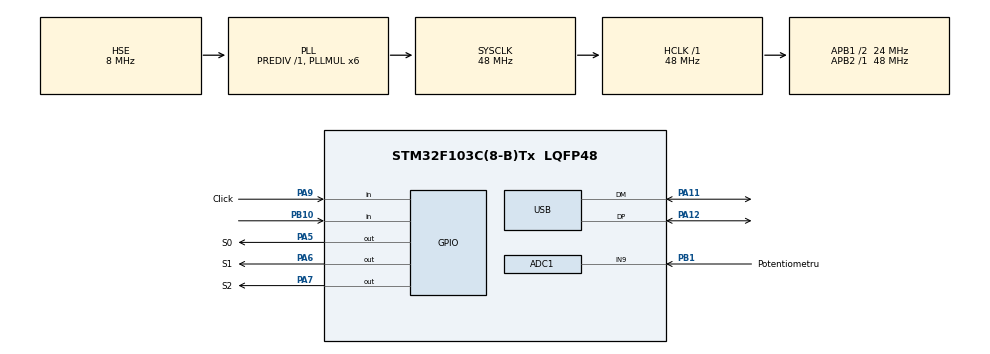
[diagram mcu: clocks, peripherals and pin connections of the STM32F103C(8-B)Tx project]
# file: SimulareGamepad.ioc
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ADC1.Channel-0\#ChannelRegularConversion=ADC_CHANNEL_9
ADC1.ContinuousConvMode=ENABLE
ADC1.NbrOfConversionFlag=1
ADC1.Rank-0\#ChannelRegularConversion=1
ADC1.SamplingTime-0\#ChannelRegularConversion=ADC_SAMPLETIME_1CYCLE_5
ADC1.master=1
Mcu.Family=STM32F1
Mcu.Name=STM32F103C(8-B)Tx
Mcu.Package=LQFP48
NVIC.PriorityGroup=NVIC_PRIORITYGROUP_4
NVIC.USB_LP_CAN1_RX0_IRQn=true\:0\:0\:false\:false\:true\:false\:true\:true
PA11.Mode=Device
PA11.Signal=USB_DM
PA12.Mode=Device
PA12.Signal=USB_DP
PA13.Mode=Serial_Wire
PA13.Signal=SYS_JTMS-SWDIO
PA14.Mode=Serial_Wire
PA14.Signal=SYS_JTCK-SWCLK
PA5.GPIO_Label=S0
PA5.Signal=GPIO_Output
PA6.GPIO_Label=S1
PA6.Signal=GPIO_Output
PA7.GPIO_Label=S2
PA7.Signal=GPIO_Output
PA9.GPIO_Label=Click
PA9.Signal=GPIO_Input
PB1.GPIO_Label=Potentiometru
PB1.Signal=ADCx_IN9
PB10.Signal=GPIO_Input
PD0-OSC_IN.Mode=HSE-External-Oscillator
PD0-OSC_IN.Signal=RCC_OSC_IN
PD1-OSC_OUT.Mode=HSE-External-Oscillator
PD1-OSC_OUT.Signal=RCC_OSC_OUT
ProjectManager.HeapSize=0x200
ProjectManager.StackSize=0x400
ProjectManager.TargetToolchain=STM32CubeIDE
RCC.ADCPresc=RCC_ADCPCLK2_DIV4
RCC.AHBFreq_Value=48000000
RCC.APB1CLKDivider=RCC_HCLK_DIV2
RCC.APB1Freq_Value=24000000
RCC.APB1TimFreq_Value=48000000
RCC.APB2Freq_Value=48000000
RCC.APB2TimFreq_Value=48000000
RCC.HCLKFreq_Value=48000000
RCC.PLLMUL=RCC_PLL_MUL6
RCC.SYSCLKFreq_VALUE=48000000
RCC.SYSCLKSource=RCC_SYSCLKSOURCE_PLLCLK
RCC.USBFreq_Value=48000000
SH.ADCx_IN9.0=ADC1_IN9,IN9
USB_DEVICE.CLASS_NAME_FS=HID
USB_DEVICE.VirtualMode=Hid
USB_DEVICE.VirtualModeFS=Hid_FS
VP_USB_DEVICE_VS_USB_DEVICE_HID_FS.Mode=HID_FS
board=custom

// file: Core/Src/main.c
/* USER CODE BEGIN Header */
/**
  ******************************************************************************
  * @file           : main.c
  * @brief          : Main program body
  ******************************************************************************
  * @attention
  *
  * Copyright (c) 2025 STMicroelectronics.
  * All rights reserved.
  *
  * This software is licensed under terms that can be found in the LICENSE file
  * in the root directory of this software component.
  * If no LICENSE file comes with this software, it is provided AS-IS.
  *
  ******************************************************************************
  */
/* USER CODE END Header */
#include "main.h"
#include "usb_device.h"

/* USER CODE BEGIN PTD */
typedef struct{
	uint8_t buton;
	int8_t x;
}gamepadReport;
/* USER CODE END PTD */

/* USER CODE BEGIN PD */
#define ALPHA 0.1f
/* USER CODE END PD */

ADC_HandleTypeDef hadc1;

/* USER CODE BEGIN PV */
uint16_t readValue;
uint8_t click;

uint32_t adcMin = 4095;  // Assuming 12-bit ADC
uint32_t adcMax = 0;

gamepadReport reportContainer;

extern USBD_HandleTypeDef hUsbDeviceFS;
/* USER CODE END PV */

void SystemClock_Config(void);
static void MX_GPIO_Init(void);
static void MX_ADC1_Init(void);

int main(void)
{

  /* MCU Configuration--------------------------------------------------------*/

  /* Reset of all peripherals, Initializes the Flash interface and the Systick. */
  HAL_Init();

  /* Configure the system clock */
  SystemClock_Config();

  /* Initialize all configured peripherals */
  MX_GPIO_Init();
  MX_ADC1_Init();
  MX_USB_DEVICE_Init();
  /* USER CODE BEGIN 2 */
  HAL_ADC_Start(&hadc1);
  /* USER CODE END 2 */

  /* Infinite loop */
  /* USER CODE BEGIN WHILE */
  while (1)
  {
	  HAL_ADC_PollForConversion(&hadc1,1000);
	  readValue = HAL_ADC_GetValue(&hadc1) ;
	  click = HAL_GPIO_ReadPin(Click_GPIO_Port,Click_Pin);

	  // Update min and max based on new reading
	  if (readValue < adcMin) adcMin = readValue;
	  if (readValue > adcMax) adcMax = readValue;

	  static float filteredADC = 0;

	  // Initialize the filter on first run
	  static uint8_t initialized = 0;
	  if (!initialized) {
	      filteredADC = readValue;
	      initialized = 1;
	  }

	  // Exponential moving average filter
	  filteredADC = (ALPHA * readValue) + ((1 - ALPHA) * filteredADC);

	  uint8_t mappedValue = (uint8_t)(((filteredADC - adcMin) * 255.0f) / (adcMax - adcMin));

	  reportContainer.buton = click;
	  reportContainer.x = mappedValue;

	  USBD_HID_SendReport(&hUsbDeviceFS, (uint8_t*) &reportContainer,2);
	  HAL_Delay(10);
    /* USER CODE END WHILE */

  }
}

void SystemClock_Config(void)
{
  RCC_OscInitTypeDef RCC_OscInitStruct = {0};
  RCC_ClkInitTypeDef RCC_ClkInitStruct = {0};
  RCC_PeriphCLKInitTypeDef PeriphClkInit = {0};

  /** Initializes the RCC Oscillators according to the specified parameters
  * in the RCC_OscInitTypeDef structure.
  */
  RCC_OscInitStruct.OscillatorType = RCC_OSCILLATORTYPE_HSE;
  RCC_OscInitStruct.HSEState = RCC_HSE_ON;
  RCC_OscInitStruct.HSEPredivValue = RCC_HSE_PREDIV_DIV1;
  RCC_OscInitStruct.HSIState = RCC_HSI_ON;
  RCC_OscInitStruct.PLL.PLLState = RCC_PLL_ON;
  RCC_OscInitStruct.PLL.PLLSource = RCC_PLLSOURCE_HSE;
  RCC_OscInitStruct.PLL.PLLMUL = RCC_PLL_MUL6;
  if (HAL_RCC_OscConfig(&RCC_OscInitStruct) != HAL_OK)
  {
    Error_Handler();
  }

  /** Initializes the CPU, AHB and APB buses clocks
  */
  RCC_ClkInitStruct.ClockType = RCC_CLOCKTYPE_HCLK|RCC_CLOCKTYPE_SYSCLK
                              |RCC_CLOCKTYPE_PCLK1|RCC_CLOCKTYPE_PCLK2;
  RCC_ClkInitStruct.SYSCLKSource = RCC_SYSCLKSOURCE_PLLCLK;
  RCC_ClkInitStruct.AHBCLKDivider = RCC_SYSCLK_DIV1;
  RCC_ClkInitStruct.APB1CLKDivider = RCC_HCLK_DIV2;
  RCC_ClkInitStruct.APB2CLKDivider = RCC_HCLK_DIV1;

  if (HAL_RCC_ClockConfig(&RCC_ClkInitStruct, FLASH_LATENCY_1) != HAL_OK)
  {
    Error_Handler();
  }
  PeriphClkInit.PeriphClockSelection = RCC_PERIPHCLK_ADC|RCC_PERIPHCLK_USB;
  PeriphClkInit.AdcClockSelection = RCC_ADCPCLK2_DIV4;
  PeriphClkInit.UsbClockSelection = RCC_USBCLKSOURCE_PLL;
  if (HAL_RCCEx_PeriphCLKConfig(&PeriphClkInit) != HAL_OK)
  {
    Error_Handler();
  }
}

static void MX_ADC1_Init(void)
{

  ADC_ChannelConfTypeDef sConfig = {0};

  /** Common config
  */
  hadc1.Instance = ADC1;
  hadc1.Init.ScanConvMode = ADC_SCAN_DISABLE;
  hadc1.Init.ContinuousConvMode = ENABLE;
  hadc1.Init.DiscontinuousConvMode = DISABLE;
  hadc1.Init.ExternalTrigConv = ADC_SOFTWARE_START;
  hadc1.Init.DataAlign = ADC_DATAALIGN_RIGHT;
  hadc1.Init.NbrOfConversion = 1;
  if (HAL_ADC_Init(&hadc1) != HAL_OK)
  {
    Error_Handler();
  }

  /** Configure Regular Channel
  */
  sConfig.Channel = ADC_CHANNEL_9;
  sConfig.Rank = ADC_REGULAR_RANK_1;
  sConfig.SamplingTime = ADC_SAMPLETIME_1CYCLE_5;
  if (HAL_ADC_ConfigChannel(&hadc1, &sConfig) != HAL_OK)
  {
    Error_Handler();
  }

}

static void MX_GPIO_Init(void)
{
  GPIO_InitTypeDef GPIO_InitStruct = {0};

  /* GPIO Ports Clock Enable */
  __HAL_RCC_GPIOD_CLK_ENABLE();
  __HAL_RCC_GPIOB_CLK_ENABLE();
  __HAL_RCC_GPIOA_CLK_ENABLE();

  /*Configure GPIO pin : Click_Pin */
  GPIO_InitStruct.Pin = Click_Pin;
  GPIO_InitStruct.Mode = GPIO_MODE_INPUT;
  GPIO_InitStruct.Pull = GPIO_NOPULL;
  HAL_GPIO_Init(Click_GPIO_Port, &GPIO_InitStruct);

}

void Error_Handler(void)
{
  __disable_irq();
  while (1)
  {
  }
}
